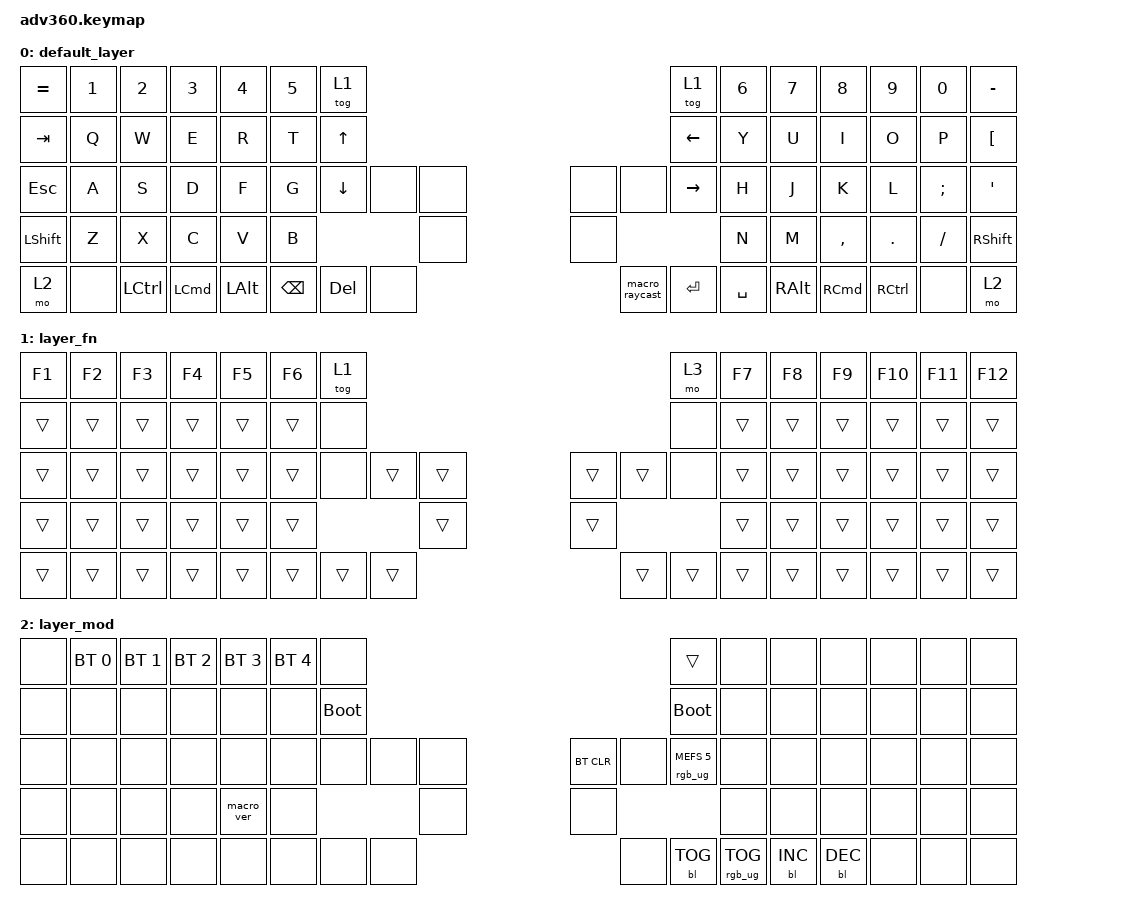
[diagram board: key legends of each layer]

/*
 * Copyright (c) 2020 The ZMK Contributors
 *
 * SPDX-License-Identifier: MIT
 */


/* THIS FILE WAS GENERATED!
 *
 * This file was generated automatically. You may or may not want to
 * edit it directly.
 */

#include <behaviors.dtsi>
#include <dt-bindings/zmk/keys.h>
#include <dt-bindings/zmk/bt.h>
#include <dt-bindings/zmk/rgb.h>
#include <dt-bindings/zmk/backlight.h>

/ {
  behaviors {
    #include "macros.dtsi"
    #include "version.dtsi"

    hm: homerow_mods {
        compatible = "zmk,behavior-hold-tap";
        label = "HOMEROW_MODS";
        #binding-cells = <2>;
        tapping-term-ms = <200>;
        quick_tap_ms = <175>;
        flavor = "tap-preferred";
        bindings = <&kp>, <&kp>;
    };
  };

    keymap {
        compatible = "zmk,keymap";


        default_layer {
            bindings = <
 &kp EQUAL  &kp N1     &kp N2            &kp N3        &kp N4  &kp N5              &tog 1                                                                 &tog 1  &kp N6         &kp N7             &kp N8     &kp N9    &kp N0  &kp MINUS
   &kp TAB   &kp Q      &kp W             &kp E         &kp R   &kp T              &kp UP                                                               &kp LEFT   &kp Y          &kp U              &kp I      &kp O     &kp P   &kp LBKT
   &kp ESC   &kp A      &kp S             &kp D         &kp F   &kp G            &kp DOWN    &none   &none                           &none      &none  &kp RIGHT   &kp H          &kp J              &kp K      &kp L  &kp SEMI    &kp SQT
 &kp LSHFT   &kp Z      &kp X             &kp C         &kp V   &kp B                                &none                           &none                         &kp N          &kp M          &kp COMMA    &kp DOT  &kp FSLH  &kp RSHFT
     &mo 2   &none  &kp LCTRL  &kp LEFT_COMMAND  &kp LEFT_ALT                    &kp BSPC  &kp DEL   &none                  &macro_raycast  &kp ENTER  &kp SPACE          &kp RIGHT_ALT  &kp RIGHT_COMMAND  &kp RCTRL     &none      &mo 2
            >;
        };

        layer_fn {
            bindings = <
 &kp F1  &kp F2  &kp F3  &kp F4  &kp F5  &kp F6            &tog 1                                                   &mo 3  &kp F7  &kp F8  &kp F9  &kp F10  &kp F11  &kp F12
 &trans  &trans  &trans  &trans  &trans  &trans             &none                                                   &none  &trans  &trans  &trans   &trans   &trans   &trans
 &trans  &trans  &trans  &trans  &trans  &trans             &none  &trans  &trans                  &trans  &trans   &none  &trans  &trans  &trans   &trans   &trans   &trans
 &trans  &trans  &trans  &trans  &trans  &trans                            &trans                  &trans                  &trans  &trans  &trans   &trans   &trans   &trans
 &trans  &trans  &trans  &trans  &trans                    &trans  &trans  &trans                  &trans  &trans  &trans          &trans  &trans   &trans   &trans   &trans
            >;
        };

        layer_mod {
            bindings = <
  &none  &bt BT_SEL 0  &bt BT_SEL 1  &bt BT_SEL 2  &bt BT_SEL 3  &bt BT_SEL 4                  &none                                                                          &trans   &none       &none       &none   &none   &none   &none
  &none         &none         &none         &none         &none         &none            &bootloader                                                                     &bootloader   &none       &none       &none   &none   &none   &none
  &none         &none         &none         &none         &none         &none                  &none   &none   &none                  &bt BT_CLR       &none  &rgb_ug RGB_MEFS_CMD 5   &none       &none       &none   &none   &none   &none
  &none         &none         &none         &none    &macro_ver         &none                                  &none                       &none                                       &none       &none       &none   &none   &none   &none
  &none         &none         &none         &none         &none                                &none   &none   &none                       &none  &bl BL_TOG         &rgb_ug RGB_TOG          &bl BL_INC  &bl BL_DEC   &none   &none   &none
            >;
        };

    };
};
